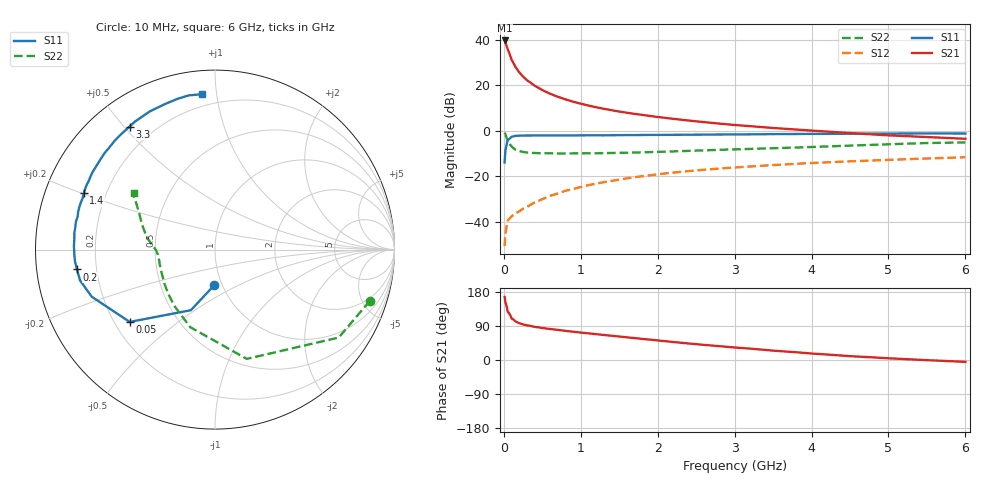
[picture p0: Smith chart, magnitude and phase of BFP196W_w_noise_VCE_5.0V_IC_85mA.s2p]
! Infineon Technologies  Discrete & RF Semiconductors
! BFP196W
! VCE =  5.0 V,  IC =  85 mA
! Common Emitter S-Parameters:  Jan 2017
# GHz  S  MA  R  50
!  f  S11  S21  S12  S22
! GHz  MAG  ANG  MAG  ANG  MAG  ANG  MAG  ANG
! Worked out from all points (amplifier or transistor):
!   77 points, 10 MHz to 6 GHz, reference 50 ohm
!   highest |S21| = 39.7 dB at 10 MHz (marker M1)
!   |S21| within 3 dB of that: start of sweep to 41.18 MHz
!   unconditionally stable (mu >= 1): 506.1 MHz to 3.302 GHz
!   at 130 MHz: K = 0.55, MSG = 33.2 dB, |S12| = -36.9 dB
!   at 2.2 GHz: K = 1.03, MAG = 10.7 dB, |S12| = -18.4 dB
!   at 6 GHz: K = 0.95, MSG = 4.1 dB, |S12| = -11.7 dB
!   lowest NFmin = 1.73 dB at 450 MHz
!   S11 on the Smith chart (normalised r, x): 10 MHz: 0.92, -0.38; 50 MHz: 0.26, -0.34; 200 MHz: 0.13, -0.07; 1.4 GHz: 0.12, +0.20; 3.3 GHz: 0.11, +0.52; 6 GHz: 0.13, +0.91
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0.01  0.1993 -91.4  96.21 166.4  0.0029 78.3  0.909 -18.3
0.02  0.3634 -111.7  89.03 153.1  0.0053 72.3  0.8458 -35.4
0.05  0.6231 -139.7  61.57 127.7  0.0105 49.9  0.6339 -73.8
0.1  0.7352 -159.1  36.45 109.8  0.013 45.0  0.4534 -107.8
0.15  0.7713 -167.1  25.29 102.0  0.0152 47.6  0.3855 -126.4
0.2  0.777 -171.8  19.19 97.2  0.0169 50.3  0.3567 -137.4
0.25  0.7827 -175.1  15.44 93.9  0.0193 53.4  0.3412 -145.1
0.3  0.784 -177.6  12.9 91.5  0.021 56.2  0.3316 -150.4
0.4  0.7863 178.7  9.74 87.5  0.0265 59.2  0.3235 -157.5
0.5  0.7861 175.6  7.795 84.5  0.0312 62.5  0.319 -162.0
0.6  0.7893 173.1  6.515 81.8  0.0371 63.9  0.3189 -165.4
0.7  0.7881 171.0  5.583 79.5  0.0415 65.6  0.3168 -167.8
0.9  0.787 166.5  4.338 74.6  0.0521 66.5  0.3175 -171.2
1.1  0.7921 162.6  3.572 70.4  0.0637 66.1  0.3186 -173.8
1.4  0.7952 156.8  2.826 64.0  0.0789 65.1  0.3237 -177.1
1.7  0.8009 151.3  2.344 57.8  0.0949 62.7  0.331 180.0
2.1  0.8095 143.9  1.913 49.6  0.115 59.1  0.3465 176.4
3.1  0.83 127.8  1.296 31.5  0.1594 49.5  0.3932 167.9
3.3  0.8346 124.8  1.22 28.3  0.1674 47.7  0.4022 166.1
4.1  0.8519 113.9  0.981 15.8  0.1982 40.6  0.4445 158.3
5.1  0.8664 103.0  0.777 3.6  0.2316 32.4  0.5095 149.5
6  0.8685 94.8  0.664 -5.0  0.2609 25.3  0.5535 145.1
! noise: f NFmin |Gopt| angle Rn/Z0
0.45  1.73  0.57  -175  0.06
0.9  1.87  0.6  -168  0.08
1.9  2.74  0.7  -148  0.21
2.4  3.15  0.74  -143  0.34
